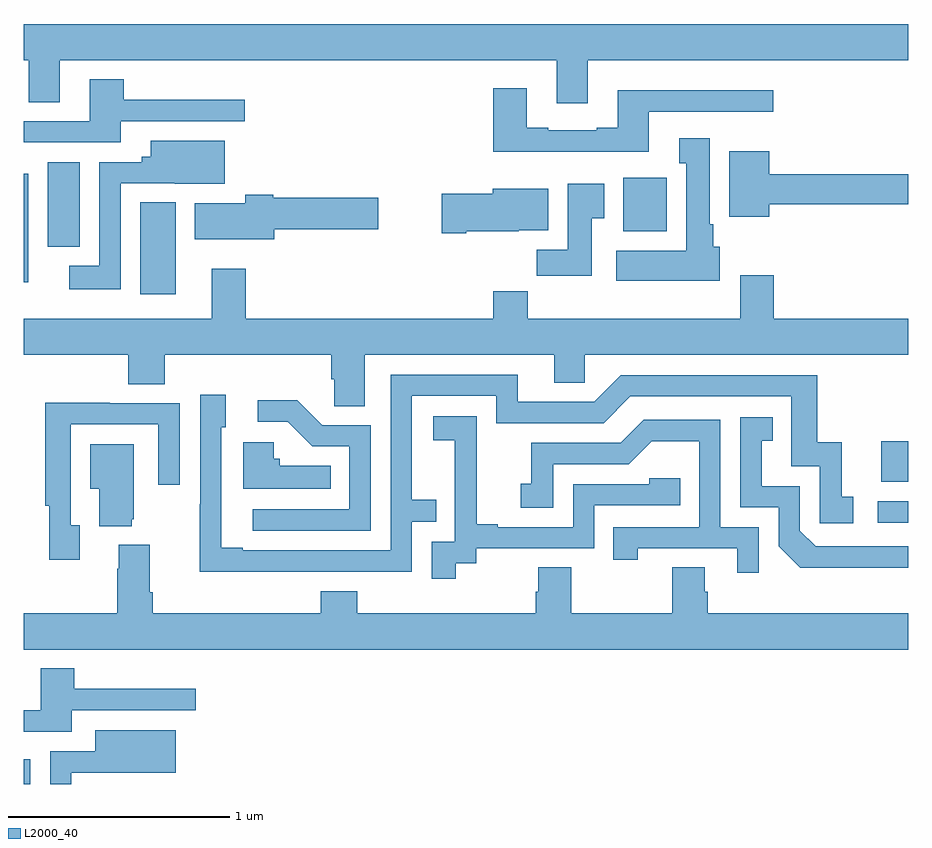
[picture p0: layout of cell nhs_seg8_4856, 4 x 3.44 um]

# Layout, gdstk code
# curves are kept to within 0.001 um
import gdstk
lib = gdstk.Library(unit=1e-6, precision=1e-09)
def R(c, l, rs):  # rectangles x0, y0, x1, y1
    for r in rs: c.add(gdstk.rectangle(r[:2], r[2:], *l))
def P(c, l, *ps):  # polygons
    for p in ps: c.add(gdstk.Polygon(p, *l))
L2000_40 = (2000, 40)

nhs_seg8_4856 = lib.new_cell('nhs_seg8_4856')
R(nhs_seg8_4856, L2000_40, [(405,1107.9,405.031,1108.012), (408.861,1109.082,409,1109.178), (408.878,1109.267,409,1109.449), (405.527,1110.114,405.688,1110.529), (405,1110.168,405.022,1110.658), (405.11,1110.329,405.253,1110.712), (407.711,1110.398,407.908,1110.64)])
P(nhs_seg8_4856, L2000_40, [(407.551,1111.172),(409,1111.172),(409,1111.336),(405,1111.336),(405,1111.172),(405.023,1111.172),(405.023,1110.982),(405.163,1110.982),(405.163,1111.172),(407.411,1111.172),(407.411,1110.978),(407.551,1110.978)],
  [(405.439,1110.897),(406,1110.897),(406,1110.994),(405.452,1110.994),(405.452,1111.087),(405.299,1111.087),(405.299,1110.897),(405,1110.897),(405,1110.801),(405.439,1110.801)],
  [(407.827,1110.939),(408.388,1110.939),(408.388,1111.036),(407.687,1111.036),(407.687,1110.868),(407.591,1110.868),(407.591,1110.855),(407.371,1110.855),(407.371,1110.868),(407.275,1110.868),(407.275,1111.045),(407.123,1111.045),(407.123,1110.758),(407.827,1110.758)],
  [(408.148,1110.33),(408.118,1110.33),(408.118,1110.43),(408.103,1110.43),(408.103,1110.82),(407.963,1110.82),(407.963,1110.707),(407.996,1110.707),(407.996,1110.31),(407.679,1110.31),(407.679,1110.176),(408.148,1110.176)],
  [(405.438,1110.615),(405.684,1110.615),(405.684,1110.614),(405.91,1110.614),(405.91,1110.808),(405.575,1110.808),(405.575,1110.736),(405.534,1110.736),(405.534,1110.711),(405.342,1110.711),(405.342,1110.244),(405.207,1110.244),(405.207,1110.137),(405.438,1110.137)],
  [(408.37,1110.52),(409,1110.52),(409,1110.656),(408.37,1110.656),(408.37,1110.76),(408.191,1110.76),(408.191,1110.464),(408.37,1110.464)],
  [(407.569,1110.457),(407.626,1110.457),(407.626,1110.613),(407.459,1110.613),(407.459,1110.316),(407.32,1110.316),(407.32,1110.198),(407.569,1110.198)],
  [(407.002,1110.398),(407.238,1110.398),(407.238,1110.404),(407.371,1110.404),(407.371,1110.592),(407.12,1110.592),(407.12,1110.569),(406.89,1110.569),(406.89,1110.391),(407.002,1110.391)],
  [(406.132,1110.409),(406.603,1110.409),(406.603,1110.551),(406.128,1110.551),(406.128,1110.564),(406.003,1110.564),(406.003,1110.526),(405.773,1110.526),(405.773,1110.362),(406.132,1110.362)],
  [(406.543,1109.84),(407.399,1109.84),(407.399,1109.713),(407.538,1109.713),(407.538,1109.84),(409,1109.84),(409,1110.004),(408.392,1110.004),(408.392,1110.199),(408.239,1110.199),(408.239,1110.004),(407.279,1110.004),(407.279,1110.128),(407.123,1110.128),(407.123,1110.004),(406.004,1110.004),(406.004,1110.229),(405.851,1110.229),(405.851,1110.004),(405,1110.004),(405,1109.84),(405.473,1109.84),(405.473,1109.707),(405.638,1109.707),(405.638,1109.84),(406.391,1109.84),(406.391,1109.731),(406.404,1109.731),(406.404,1109.608),(406.543,1109.608)],
  [(406.259,1108.86),(406.755,1108.86),(406.755,1109.085),(406.865,1109.085),(406.865,1109.186),(406.755,1109.186),(406.755,1109.655),(407.136,1109.655),(407.136,1109.532),(407.622,1109.532),(407.742,1109.652),(408.471,1109.652),(408.471,1109.337),(408.6,1109.337),(408.6,1109.079),(408.751,1109.079),(408.751,1109.199),(408.698,1109.199),(408.698,1109.446),(408.587,1109.446),(408.587,1109.748),(407.7,1109.748),(407.58,1109.628),(407.233,1109.628),(407.233,1109.751),(406.659,1109.751),(406.659,1108.956),(405.991,1108.956),(405.991,1108.969),(405.894,1108.969),(405.894,1109.514),(405.913,1109.514),(405.913,1109.659),(405.798,1109.659),(405.798,1109.165),(405.796,1109.165),(405.796,1108.859)],
  [(406.569,1109.523),(406.35,1109.523),(406.237,1109.636),(406.059,1109.636),(406.059,1109.538),(406.193,1109.538),(406.304,1109.427),(406.473,1109.427),(406.473,1109.142),(406.035,1109.142),(406.035,1109.046),(406.569,1109.046)],
  [(405.253,1109.07),(405.213,1109.07),(405.213,1109.526),(405.609,1109.526),(405.609,1109.253),(405.705,1109.253),(405.705,1109.622),(405.389,1109.622),(405.389,1109.624),(405.097,1109.624),(405.097,1109.158),(405.116,1109.158),(405.116,1108.914),(405.253,1108.914)],
  [(406.954,1108.897),(407.046,1108.897),(407.046,1108.965),(407.58,1108.965),(407.58,1109.16),(407.969,1109.16),(407.969,1109.283),(407.829,1109.283),(407.829,1109.256),(407.484,1109.256),(407.484,1109.061),(407.143,1109.061),(407.143,1109.074),(407.048,1109.074),(407.048,1109.357),(407.049,1109.357),(407.049,1109.563),(406.851,1109.563),(406.851,1109.453),(406.949,1109.453),(406.949,1109.225),(406.95,1109.225),(406.95,1108.995),(406.845,1108.995),(406.845,1108.827),(406.954,1108.827)],
  [(408.92,1108.878),(409,1108.878),(409,1108.974),(408.582,1108.974),(408.51,1109.046),(408.51,1109.247),(408.337,1109.247),(408.337,1109.451),(408.386,1109.451),(408.386,1109.557),(408.24,1109.557),(408.24,1109.151),(408.414,1109.151),(408.414,1108.974),(408.512,1108.877)],
  [(408.324,1109.061),(408.15,1109.061),(408.15,1109.547),(407.804,1109.547),(407.699,1109.442),(407.296,1109.442),(407.296,1109.257),(407.247,1109.257),(407.247,1109.148),(407.394,1109.148),(407.394,1109.346),(407.736,1109.346),(407.84,1109.45),(408.054,1109.45),(408.054,1109.061),(407.665,1109.061),(407.665,1108.914),(407.776,1108.914),(407.776,1108.965),(408.227,1108.965),(408.227,1108.854),(408.324,1108.854)],
  [(406.388,1109.338),(406.158,1109.338),(406.158,1109.37),(406.131,1109.37),(406.131,1109.446),(405.992,1109.446),(405.992,1109.234),(406.388,1109.234)],
  [(405.488,1109.097),(405.499,1109.097),(405.499,1109.437),(405.302,1109.437),(405.302,1109.234),(405.341,1109.234),(405.341,1109.066),(405.488,1109.066)],
  [(409,1108.672),(408.092,1108.672),(408.092,1108.77),(408.079,1108.77),(408.079,1108.88),(407.932,1108.88),(407.932,1108.672),(407.475,1108.672),(407.475,1108.88),(407.327,1108.88),(407.327,1108.77),(407.315,1108.77),(407.315,1108.672),(406.508,1108.672),(406.508,1108.771),(406.343,1108.771),(406.343,1108.672),(405.584,1108.672),(405.584,1108.768),(405.571,1108.768),(405.571,1108.981),(405.431,1108.981),(405.431,1108.874),(405.424,1108.874),(405.424,1108.672),(405,1108.672),(405,1108.508),(409,1108.508)],
  [(405.217,1108.233),(405.778,1108.233),(405.778,1108.33),(405.23,1108.33),(405.23,1108.423),(405.077,1108.423),(405.077,1108.233),(405,1108.233),(405,1108.137),(405.217,1108.137)],
  [(405.216,1107.951),(405.462,1107.951),(405.462,1107.95),(405.688,1107.95),(405.688,1108.144),(405.323,1108.144),(405.323,1108.047),(405.12,1108.047),(405.12,1107.9),(405.216,1107.9)])

lib.write_gds('nhs_seg8_4856.gds')
